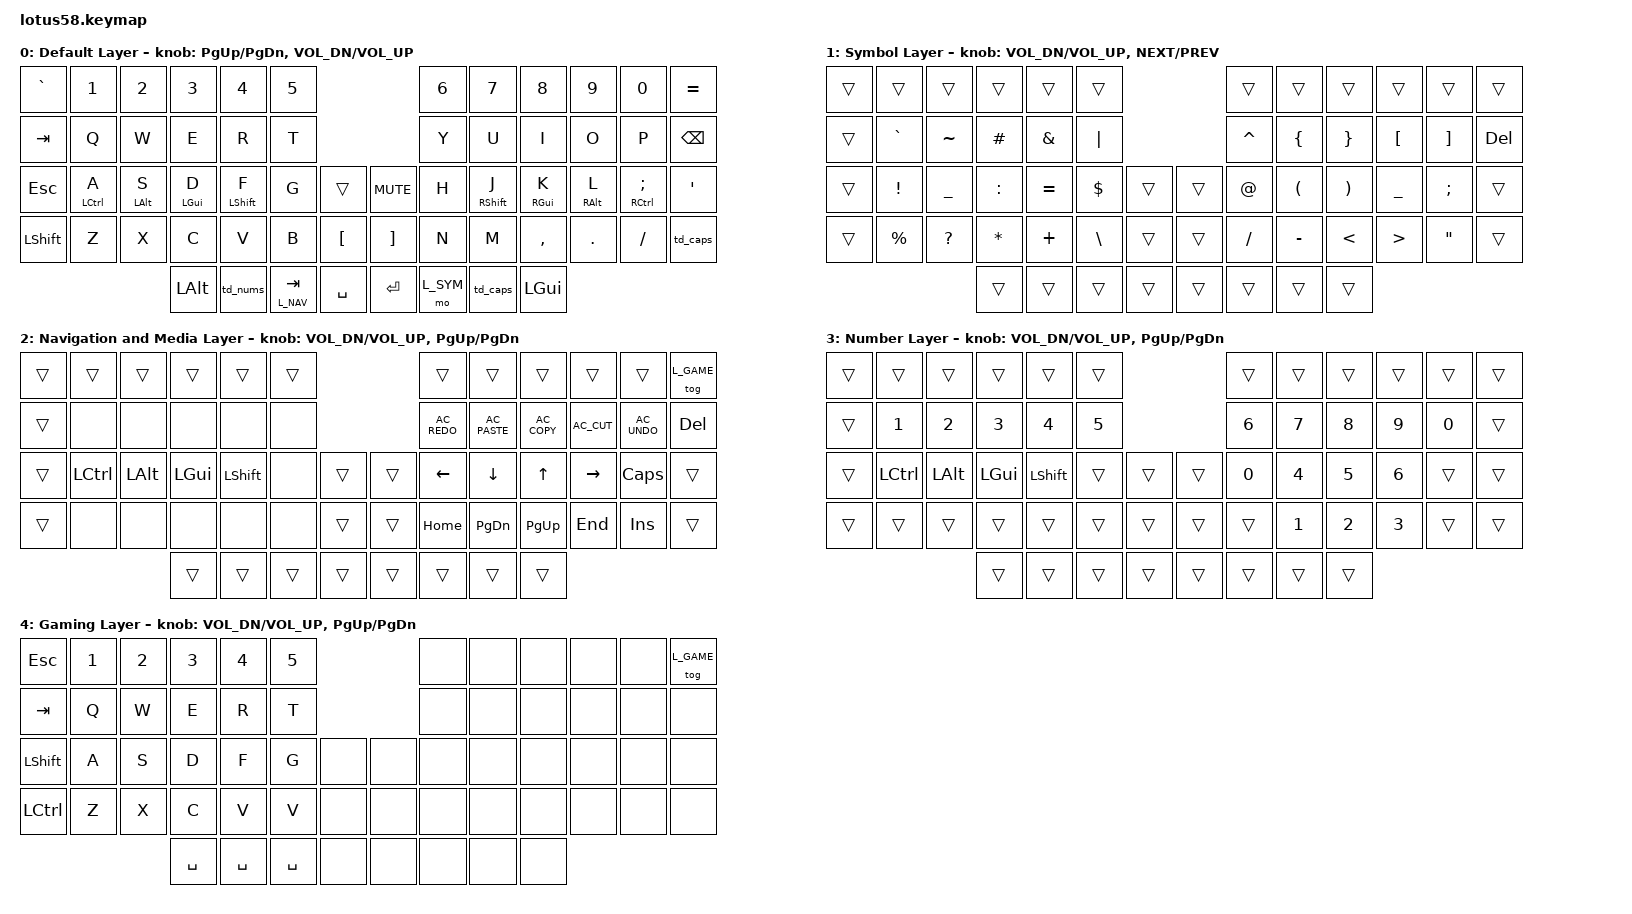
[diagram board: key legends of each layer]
#include <behaviors.dtsi>
#include <dt-bindings/zmk/keys.h>
#include <dt-bindings/zmk/bt.h>
#include <dt-bindings/zmk/outputs.h>
#include <dt-bindings/zmk/pointing.h>

// Mouse emulation
#undef ZMK_POINTING_DEFAULT_MOVE_VAL
#define ZMK_POINTING_DEFAULT_MOVE_VAL 800 // default: 600
#undef ZMK_POINTING_DEFAULT_SCRL_VAL
#define ZMK_POINTING_DEFAULT_SCRL_VAL 20 // default: 10

// Layer names
#define L_DEF 0
#define L_SYM 1
#define L_NAV 2
#define L_NUM 3
#define L_GAME 4

/*               58 KEY MATRIX / LAYOUT MAPPING
  ╭────────────────────────────┬────────────────────────────╮
  │  0   1   2   3   4   5     │      6   7   8   9  10  11 │
  │ 12  13  14  15  16  17     │     18  19  20  21  22  23 │
  │ 24  25  26  27  28  29  30 │ 31  32  33  34  35  36  37 │
  │ 38  39  40  41  42  43  44 │ 45  46  47  48  49  50  51 │
  ╰───────────╮ 52  53  54  55 │ 56  57  58  59 ╭───────────╯
              ╰────────────────┴────────────────╯
*/

// Opposing key mappings and tap hold timings
#define LEFT_KEYS 0 1 2 3 4 5 12 13 14 15 16 17 24 25 26 27 28 29 30 38 39 40 41 42 43 44
#define RIGHT_KEYS 6 7 8 9 10 11 18 19 20 21 22 23 31 32 33 34 35 36 37 45 46 47 48 49 50 51
#define LEFT_THUMBS 52 53 54 55
#define RIGHT_THUMBS 56 57 58 59

#define TAPPING_TERM_MS 270
#define QUICK_TAP_MS 175
#define REQUIRE_PRIOR_IDLE_MS 130

// Caps words
&caps_word {
    continue-list = <UNDERSCORE MINUS BACKSPACE>;
};

/ {
    behaviors {
        // thumb tap holds
        tml: thumb_hold_tap_left {
            compatible = "zmk,behavior-hold-tap";
            #binding-cells = <2>;
            bindings = <&mo>, <&kp>;
            flavor = "balanced";
            tapping-term-ms = <TAPPING_TERM_MS>;
            quick-tap-ms = <QUICK_TAP_MS>;
            require-prior-idle-ms = <REQUIRE_PRIOR_IDLE_MS>;
            hold-trigger-key-positions = <RIGHT_THUMBS RIGHT_KEYS LEFT_KEYS>;
            hold-trigger-on-release;
        };
        tmr: thumb_hold_tap_right {
            compatible = "zmk,behavior-hold-tap";
            #binding-cells = <2>;
            bindings = <&mo>, <&kp>;
            flavor = "balanced";
            tapping-term-ms = <TAPPING_TERM_MS>;
            quick-tap-ms = <QUICK_TAP_MS>;
            require-prior-idle-ms = <REQUIRE_PRIOR_IDLE_MS>;
            hold-trigger-key-positions = <LEFT_THUMBS RIGHT_KEYS LEFT_KEYS>;
            hold-trigger-on-release;
        };

        // home row mods
        hml: home_row_mod_left {
            compatible = "zmk,behavior-hold-tap";
            #binding-cells = <2>;
            bindings = <&kp>, <&kp>;
            flavor = "balanced";
            tapping-term-ms = <TAPPING_TERM_MS>;
            quick-tap-ms = <QUICK_TAP_MS>;
            require-prior-idle-ms = <REQUIRE_PRIOR_IDLE_MS>;
            hold-trigger-key-positions = <RIGHT_KEYS LEFT_THUMBS RIGHT_THUMBS>;
            hold-trigger-on-release;
        };
        hmr: home_row_mod_right {
            compatible = "zmk,behavior-hold-tap";
            #binding-cells = <2>;
            bindings = <&kp>, <&kp>;
            flavor = "balanced";
            tapping-term-ms = <TAPPING_TERM_MS>;
            quick-tap-ms = <QUICK_TAP_MS>;
            require-prior-idle-ms = <REQUIRE_PRIOR_IDLE_MS>;
            hold-trigger-key-positions = <LEFT_KEYS LEFT_THUMBS RIGHT_THUMBS>;
            hold-trigger-on-release;
        };

        // sticky keys
        skq: sticky_quick_release {
          compatible = "zmk,behavior-sticky-key";
          #binding-cells = <1>;
          bindings = <&kp>;
          release-after-ms = <1000>;
          quick-release;
          ignore-modifiers;
        };

        // tap dance
        td_caps: tap_dance_left_thumb {
            compatible = "zmk,behavior-tap-dance";
            #binding-cells = <0>;
            tapping-term-ms = <200>;
            bindings = <&skq LSHIFT>, <&caps_word>, <&kp CAPSLOCK>;
        };
        td_nums: tap_dance_right_thumb {
            compatible = "zmk,behavior-tap-dance";
            #binding-cells = <0>;
            tapping-term-ms = <200>;
            bindings = <&skq RSHIFT>, <&tog L_NUM>;
        };
    };

    conditional_layers {
        compatible = "zmk,conditional-layers";
        // When both layer 1 and 2 (Symbols and Navigation) are pressed, enabled layer 3 (Numbers)
        tri_layer {
            if-layers = <L_SYM L_NAV>;
            then-layer = <L_NUM>;
        };
    };

// The keybindings are an amalgamation of the following resources:
// https://github.com/manna-harbour/miryoku
// https://github.com/urob/zmk-config
// https://getreuer.info/posts/keyboards/symbol-layer/index.html

    keymap {
        compatible = "zmk,keymap";

        default_layer {
            display-name = "Default Layer";
            bindings = <
&kp GRAVE  &kp N1        &kp N2       &kp N3       &kp N4         &kp N5                                 &kp N6     &kp N7         &kp N8       &kp N9       &kp N0          &kp EQUAL
&kp TAB    &kp Q         &kp W        &kp E        &kp R          &kp T                                  &kp Y      &kp U          &kp I        &kp O        &kp P           &kp BACKSPACE
&kp ESC    &hml LCTRL A  &hml LALT S  &hml LGUI D  &hml LSHIFT F  &kp G           &trans     &kp C_MUTE  &kp H      &hmr RSHIFT J  &hmr RGUI K  &hmr RALT L  &hmr RCTL SEMI  &kp SQT
&kp LSHFT  &kp Z         &kp X        &kp C        &kp V          &kp B           &kp LBKT   &kp RBKT    &kp N      &kp M          &kp COMMA    &kp DOT      &kp FSLH        &td_caps
                                      &kp LALT     &td_nums       &tml L_NAV TAB  &kp SPACE  &kp RET     &mo L_SYM  &td_caps       &kp LGUI
            >;
            sensor-bindings = <&inc_dec_kp PG_UP PG_DN &inc_dec_kp C_VOL_DN C_VOL_UP>;
        };

        symbol_layer {
            display-name = "Symbol Layer";
            bindings = <
&trans  &trans       &trans     &trans     &trans     &trans                        &trans     &trans     &trans    &trans     &trans             &trans
&trans  &kp GRAVE    &kp TILDE  &kp HASH   &kp AMPS   &kp PIPE                      &kp CARET  &kp LBRC   &kp RBRC  &kp LBKT   &kp RBKT           &kp DEL
&trans  &kp EXCL     &kp UNDER  &kp COLON  &kp EQUAL  &kp DOLLAR    &trans  &trans  &kp AT     &kp LPAR   &kp RPAR  &kp UNDER  &kp SEMI           &trans
&trans  &kp PERCENT  &kp QMARK  &kp STAR   &kp PLUS   &kp BSLH      &trans  &trans  &kp FSLH   &kp MINUS  &kp LT    &kp GT     &kp DOUBLE_QUOTES  &trans
                                   &trans  &trans     &trans        &trans  &trans  &trans     &trans     &trans
            >;
            sensor-bindings = <&inc_dec_kp C_VOL_DN C_VOL_UP &inc_dec_kp C_NEXT C_PREV>;
        };

        nav_and_media_layer {
            display-name = "Navigation and Media Layer";
            bindings = <
&trans  &trans     &trans    &trans    &trans      &trans                   &trans         &trans          &trans         &trans        &trans         &tog L_GAME
&trans  &none      &none     &none     &none       &none                    &kp C_AC_REDO  &kp C_AC_PASTE  &kp C_AC_COPY  &kp C_AC_CUT  &kp C_AC_UNDO  &kp DEL
&trans  &kp LCTRL  &kp LALT  &kp LGUI  &kp LSHIFT  &none   &trans   &trans  &kp LEFT       &kp DOWN        &kp UP         &kp RIGHT     &kp CAPSLOCK   &trans
&trans  &none      &none     &none     &none       &none   &trans   &trans  &kp HOME       &kp PG_DN       &kp PG_UP      &kp END       &kp INS        &trans
                             &trans    &trans      &trans  &trans   &trans  &trans         &trans          &trans
            >;
            sensor-bindings = <&inc_dec_kp C_VOL_DN C_VOL_UP &inc_dec_kp PG_UP PG_DN>;
        };

        number_layer {
            display-name = "Number Layer";
            bindings = <
&trans  &trans     &trans    &trans    &trans      &trans                  &trans  &trans  &trans  &trans  &trans  &trans
&trans  &kp N1     &kp N2    &kp N3    &kp N4      &kp N5                  &kp N6  &kp N7  &kp N8  &kp N9  &kp N0  &trans
&trans  &kp LCTRL  &kp LALT  &kp LGUI  &kp LSHIFT  &trans  &trans  &trans  &kp N0  &kp N4  &kp N5  &kp N6  &trans  &trans
&trans  &trans     &trans    &trans    &trans      &trans  &trans  &trans  &trans  &kp N1  &kp N2  &kp N3  &trans  &trans
                             &trans    &trans      &trans  &trans  &trans  &trans  &trans  &trans
            >;
            sensor-bindings = <&inc_dec_kp C_VOL_DN C_VOL_UP &inc_dec_kp PG_UP PG_DN>;
        };

        gaming_layer {
            display-name = "Gaming Layer";
            bindings = <
&kp ESC    &kp N1  &kp N2  &kp N3     &kp N4     &kp N5                   &none  &none  &none  &none  &none  &tog L_GAME
&kp TAB    &kp Q   &kp W   &kp E      &kp R      &kp T                    &none  &none  &none  &none  &none  &none
&kp LSHFT  &kp A   &kp S   &kp D      &kp F      &kp G      &none  &none  &none  &none  &none  &none  &none  &none
&kp LCTRL  &kp Z   &kp X   &kp C      &kp V      &kp V      &none  &none  &none  &none  &none  &none  &none  &none
                           &kp SPACE  &kp SPACE  &kp SPACE  &none  &none  &none  &none  &none
            >;
            sensor-bindings = <&inc_dec_kp C_VOL_DN C_VOL_UP &inc_dec_kp PG_UP PG_DN>;
        };
    };
};
